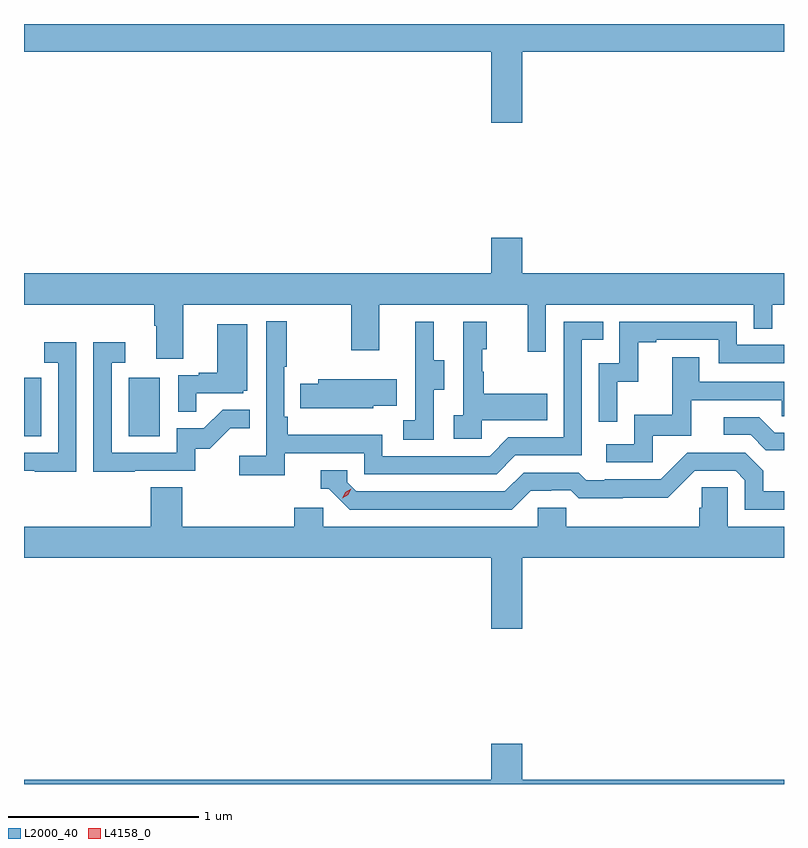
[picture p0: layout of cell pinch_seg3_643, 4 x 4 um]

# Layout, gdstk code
import gdstk
lib = gdstk.Library(unit=1e-6, precision=1e-09)
def R(c, l, rs):  # rectangles x0, y0, x1, y1
    for r in rs: c.add(gdstk.rectangle(r[:2], r[2:], *l))
def P(c, l, *ps):  # polygons
    for p in ps: c.add(gdstk.Polygon(p, *l))
L2000_40 = (2000, 40)
L4158_0 = (4158, 0)

pinch_seg3_643 = lib.new_cell('pinch_seg3_643')
R(pinch_seg3_643, L2000_40, [(1037.674,674.916,1037.764,675.223), (1038.224,674.916,1038.388,675.223)])
P(pinch_seg3_643, L2000_40, [(1037.674,676.94),(1040.132,676.94),(1040.132,676.566),(1040.296,676.566),(1040.296,676.94),(1041.674,676.94),(1041.674,677.085),(1037.674,677.085)],
  [(1037.674,675.608),(1038.359,675.608),(1038.359,675.496),(1038.371,675.496),(1038.371,675.322),(1038.511,675.322),(1038.511,675.608),(1039.396,675.608),(1039.396,675.369),(1039.543,675.369),(1039.543,675.608),(1040.324,675.608),(1040.324,675.36),(1040.421,675.36),(1040.421,675.608),(1041.516,675.608),(1041.516,675.481),(1041.612,675.481),(1041.612,675.608),(1041.674,675.608),(1041.674,675.772),(1040.296,675.772),(1040.296,675.961),(1040.132,675.961),(1040.132,675.772),(1037.674,675.772)],
  [(1039.046,674.826),(1039.464,674.826),(1039.464,674.715),(1040.161,674.715),(1040.26,674.814),(1040.61,674.814),(1040.61,675.423),(1040.723,675.423),(1040.723,675.519),(1040.514,675.519),(1040.514,674.91),(1040.223,674.91),(1040.124,674.811),(1039.56,674.811),(1039.56,674.923),(1039.061,674.923),(1039.061,675.019),(1039.044,675.019),(1039.044,675.28),(1039.057,675.28),(1039.057,675.52),(1038.948,675.52),(1038.948,674.812),(1038.807,674.812),(1038.807,674.71),(1039.046,674.71)],
  [(1040.796,675.203),(1040.906,675.203),(1040.906,675.411),(1041.001,675.411),(1041.001,675.423),(1041.33,675.423),(1041.33,675.3),(1041.674,675.3),(1041.674,675.396),(1041.426,675.396),(1041.426,675.519),(1040.808,675.519),(1040.808,675.3),(1040.7,675.3),(1040.7,674.991),(1040.796,674.991)],
  [(1040.082,674.999),(1040.429,674.999),(1040.429,675.139),(1040.095,675.139),(1040.095,675.254),(1040.085,675.254),(1040.085,675.372),(1040.11,675.372),(1040.11,675.517),(1039.986,675.517),(1039.986,675.026),(1039.935,675.026),(1039.935,674.901),(1040.082,674.901)],
  [(1039.83,675.16),(1039.885,675.16),(1039.885,675.315),(1039.831,675.315),(1039.831,675.517),(1039.733,675.517),(1039.733,675.303),(1039.734,675.303),(1039.734,674.999),(1039.671,674.999),(1039.671,674.896),(1039.83,674.896)],
  [(1038.581,675.141),(1038.828,675.141),(1038.828,675.156),(1038.85,675.156),(1038.85,675.505),(1038.692,675.505),(1038.692,675.25),(1038.593,675.25),(1038.593,675.237),(1038.486,675.237),(1038.486,675.043),(1038.581,675.043)],
  [(1038.257,674.733),(1038.576,674.733),(1038.576,674.85),(1038.652,674.85),(1038.759,674.957),(1038.863,674.957),(1038.863,675.056),(1038.719,675.056),(1038.621,674.958),(1038.477,674.958),(1038.477,674.829),(1038.135,674.829),(1038.135,675.303),(1038.208,675.303),(1038.208,675.409),(1038.039,675.409),(1038.039,674.728),(1038.257,674.728)],
  [(1037.949,675.409),(1037.781,675.409),(1037.781,675.303),(1037.853,675.303),(1037.853,674.829),(1037.674,674.829),(1037.674,674.733),(1037.731,674.733),(1037.731,674.728),(1037.949,674.728)],
  [(1040.982,674.919),(1041.187,674.919),(1041.187,675.105),(1041.661,675.105),(1041.661,675.021),(1041.674,675.021),(1041.674,675.201),(1041.229,675.201),(1041.229,675.331),(1041.085,675.331),(1041.085,675.028),(1040.886,675.028),(1040.886,674.874),(1040.739,674.874),(1040.739,674.778),(1040.982,674.778)],
  [(1039.512,675.077),(1039.637,675.077),(1039.637,675.214),(1039.223,675.214),(1039.223,675.192),(1039.129,675.192),(1039.129,675.063),(1039.24,675.063),(1039.24,675.062),(1039.512,675.062)],
  [(1041.674,674.934),(1041.625,674.934),(1041.544,675.015),(1041.357,675.015),(1041.357,674.922),(1041.498,674.922),(1041.578,674.842),(1041.674,674.842)],
  [(1040.341,674.628),(1040.448,674.628),(1040.448,674.631),(1040.551,674.631),(1040.593,674.589),(1040.826,674.589),(1040.826,674.591),(1041.062,674.591),(1041.204,674.733),(1041.42,674.733),(1041.468,674.685),(1041.468,674.529),(1041.674,674.529),(1041.674,674.625),(1041.565,674.625),(1041.565,674.735),(1041.471,674.829),(1041.165,674.829),(1041.024,674.688),(1040.731,674.688),(1040.731,674.685),(1040.632,674.685),(1040.593,674.724),(1040.304,674.724),(1040.205,674.625),(1039.422,674.625),(1039.374,674.673),(1039.374,674.736),(1039.235,674.736),(1039.235,674.64),(1039.278,674.64),(1039.389,674.529),(1040.242,674.529)],
  [(1040.296,674.276),(1041.674,674.276),(1041.674,674.44),(1041.378,674.44),(1041.378,674.648),(1041.241,674.648),(1041.241,674.538),(1041.227,674.538),(1041.227,674.44),(1040.529,674.44),(1040.529,674.538),(1040.379,674.538),(1040.379,674.44),(1039.248,674.44),(1039.248,674.538),(1039.097,674.538),(1039.097,674.44),(1038.506,674.44),(1038.506,674.648),(1038.341,674.648),(1038.341,674.44),(1037.674,674.44),(1037.674,674.276),(1040.132,674.276),(1040.132,673.902),(1040.296,673.902)],
  [(1041.674,673.108),(1040.296,673.108),(1040.296,673.297),(1040.132,673.297),(1040.132,673.108),(1037.674,673.108),(1037.674,673.085),(1041.674,673.085)])
P(pinch_seg3_643, L4158_0, [(1039.349,674.588),(1039.349,674.589),(1039.366,674.621),(1039.397,674.64),(1039.397,674.64),(1039.397,674.64),(1039.38,674.607),(1039.35,674.588)])

lib.write_gds('pinch_seg3_643.gds')
